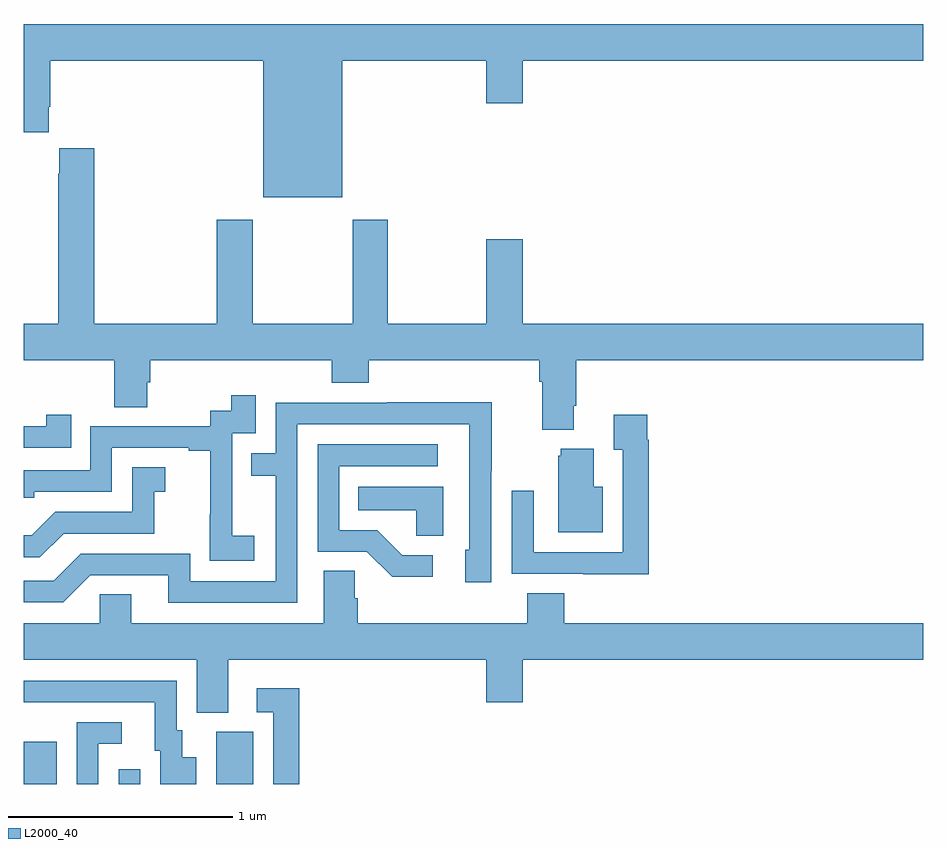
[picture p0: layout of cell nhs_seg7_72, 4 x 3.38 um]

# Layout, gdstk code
import gdstk
lib = gdstk.Library(unit=1e-6, precision=1e-09)
def R(c, l, rs):  # rectangles x0, y0, x1, y1
    for r in rs: c.add(gdstk.rectangle(r[:2], r[2:], *l))
def P(c, l, *ps):  # polygons
    for p in ps: c.add(gdstk.Polygon(p, *l))
L2000_40 = (2000, 40)

nhs_seg7_72 = lib.new_cell('nhs_seg7_72')
R(nhs_seg7_72, L2000_40, [(115,1064,115.147,1064.188), (115.422,1064,115.518,1064.065), (115.856,1064,116.02,1064.232)])
P(nhs_seg7_72, L2000_40, [(116.416,1067.216),(117.056,1067.216),(117.056,1067.028),(117.22,1067.028),(117.22,1067.216),(119,1067.216),(119,1067.38),(115,1067.38),(115,1066.899),(115.111,1066.899),(115.111,1067.011),(115.118,1067.011),(115.118,1067.216),(116.066,1067.216),(116.066,1066.61),(116.416,1066.61)],
  [(117.445,1065.682),(117.458,1065.682),(117.458,1065.884),(119,1065.884),(119,1066.048),(117.22,1066.048),(117.22,1066.423),(117.056,1066.423),(117.056,1066.048),(116.619,1066.048),(116.619,1066.51),(116.464,1066.51),(116.464,1066.048),(116.019,1066.048),(116.019,1066.51),(115.859,1066.51),(115.859,1066.048),(115.313,1066.048),(115.313,1066.828),(115.157,1066.828),(115.157,1066.715),(115.153,1066.715),(115.153,1066.048),(115,1066.048),(115,1065.884),(115.402,1065.884),(115.402,1065.676),(115.549,1065.676),(115.549,1065.786),(115.562,1065.786),(115.562,1065.884),(116.369,1065.884),(116.369,1065.785),(116.534,1065.785),(116.534,1065.884),(117.293,1065.884),(117.293,1065.788),(117.305,1065.788),(117.305,1065.575),(117.445,1065.575)],
  [(116.026,1065.103),(115.928,1065.103),(115.928,1065.332),(115.926,1065.332),(115.926,1065.561),(116.031,1065.561),(116.031,1065.73),(115.923,1065.73),(115.923,1065.66),(115.83,1065.66),(115.83,1065.591),(115.296,1065.591),(115.296,1065.396),(115,1065.396),(115,1065.273),(115.047,1065.273),(115.047,1065.3),(115.392,1065.3),(115.392,1065.495),(115.733,1065.495),(115.733,1065.483),(115.829,1065.483),(115.829,1065.199),(115.828,1065.199),(115.828,1064.993),(116.026,1064.993)],
  [(116.217,1065.6),(116.982,1065.6),(116.982,1065.042),(116.963,1065.042),(116.963,1064.898),(117.078,1064.898),(117.078,1065.391),(117.081,1065.391),(117.081,1065.698),(116.617,1065.698),(116.617,1065.696),(116.121,1065.696),(116.121,1065.471),(116.011,1065.471),(116.011,1065.37),(116.121,1065.37),(116.121,1064.901),(115.74,1064.901),(115.74,1065.024),(115.254,1065.024),(115.134,1064.904),(115,1064.904),(115,1064.808),(115.176,1064.808),(115.296,1064.928),(115.643,1064.928),(115.643,1064.805),(116.217,1064.805)],
  [(115.211,1065.643),(115.1,1065.643),(115.1,1065.591),(115,1065.591),(115,1065.495),(115.211,1065.495)],
  [(117.779,1065.53),(117.772,1065.53),(117.772,1065.643),(117.623,1065.643),(117.623,1065.487),(117.663,1065.487),(117.663,1065.03),(117.267,1065.03),(117.267,1065.304),(117.171,1065.304),(117.171,1064.934),(117.487,1064.934),(117.487,1064.933),(117.779,1064.933)],
  [(116.818,1065.018),(116.683,1065.018),(116.572,1065.129),(116.403,1065.129),(116.403,1065.414),(116.842,1065.414),(116.842,1065.51),(116.307,1065.51),(116.307,1065.033),(116.526,1065.033),(116.639,1064.921),(116.818,1064.921)],
  [(117.574,1065.322),(117.535,1065.322),(117.535,1065.49),(117.389,1065.49),(117.389,1065.459),(117.377,1065.459),(117.377,1065.119),(117.574,1065.119)],
  [(115.177,1065.114),(115.581,1065.114),(115.581,1065.299),(115.63,1065.299),(115.63,1065.409),(115.482,1065.409),(115.482,1065.21),(115.14,1065.21),(115.036,1065.106),(115,1065.106),(115,1065.009),(115.072,1065.009)],
  [(116.866,1065.322),(116.488,1065.322),(116.488,1065.218),(116.745,1065.218),(116.745,1065.103),(116.866,1065.103)],
  [(115.909,1064.552),(117.056,1064.552),(117.056,1064.364),(117.22,1064.364),(117.22,1064.552),(119,1064.552),(119,1064.716),(117.404,1064.716),(117.404,1064.849),(117.239,1064.849),(117.239,1064.716),(116.486,1064.716),(116.486,1064.825),(116.472,1064.825),(116.472,1064.948),(116.333,1064.948),(116.333,1064.716),(115.477,1064.716),(115.477,1064.843),(115.338,1064.843),(115.338,1064.716),(115,1064.716),(115,1064.552),(115.769,1064.552),(115.769,1064.317),(115.909,1064.317)],
  [(115.768,1064.119),(115.705,1064.119),(115.705,1064.238),(115.68,1064.238),(115.68,1064.46),(115,1064.46),(115,1064.364),(115.583,1064.364),(115.583,1064.148),(115.607,1064.148),(115.607,1064),(115.768,1064)],
  [(116.225,1064.425),(116.037,1064.425),(116.037,1064.319),(116.109,1064.319),(116.109,1064),(116.225,1064)],
  [(115.332,1064.178),(115.435,1064.178),(115.435,1064.274),(115.236,1064.274),(115.236,1064),(115.332,1064)])

lib.write_gds('nhs_seg7_72.gds')
